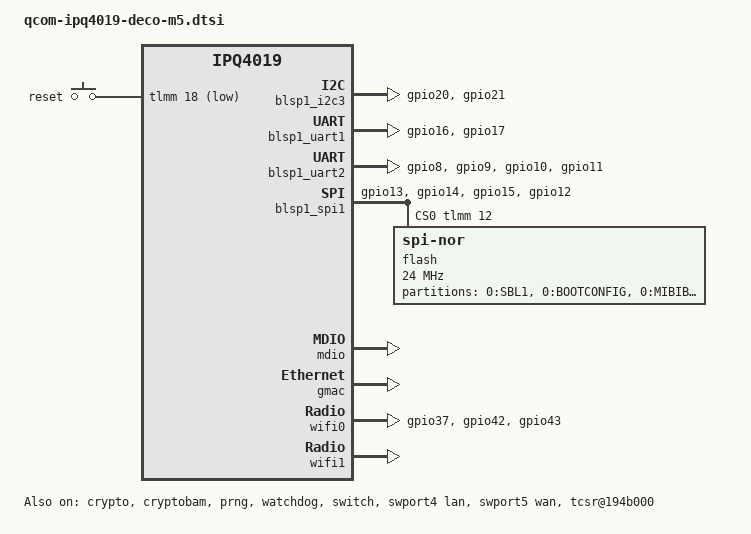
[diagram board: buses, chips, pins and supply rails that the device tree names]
// SPDX-License-Identifier: GPL-2.0-or-later OR MIT

#include "qcom-ipq4019.dtsi"
#include <dt-bindings/gpio/gpio.h>
#include <dt-bindings/input/input.h>
#include <dt-bindings/soc/qcom,tcsr.h>
#include <dt-bindings/leds/common.h>

/ {
	chosen {
		bootargs-append = " root=/dev/mtdblock16";
	};

	aliases {
		label-mac-device = &swport4;
	};

	keys {
		compatible = "gpio-keys";

		reset {
			label = "reset";
			gpios = <&tlmm 18 GPIO_ACTIVE_LOW>;
			linux,code = <KEY_RESTART>;
		};
	};

	soc {
		tcsr@194b000 {
			compatible = "qcom,tcsr";
			reg = <0x194b000 0x100>;
			qcom,usb-hsphy-mode-select = <TCSR_USB_HSPHY_HOST_MODE>;
			status = "okay";
		};

		tcsr@1949000 {
			compatible = "qcom,tcsr";
			reg = <0x1949000 0x100>;
			qcom,wifi_glb_cfg = <TCSR_WIFI_GLB_CFG>;
		};

		tcsr@1957000 {
			compatible = "qcom,tcsr";
			reg = <0x1957000 0x100>;
			qcom,wifi_noc_memtype_m0_m2 = <TCSR_WIFI_NOC_MEMTYPE_M0_M2>;
		};

		ess_tcsr@1953000 {
			compatible = "qcom,tcsr";
			reg = <0x1953000 0x1000>;
			qcom,ess-interface-select = <TCSR_ESS_PSGMII>;
		};
	};
};

&tlmm {
	serial_0_pins: serial_0_pinmux {
		pinmux {
			pins = "gpio16", "gpio17";
			function = "blsp_uart0";
			bias-disable;
		};
	};

	serial_1_pins: serial_1_pinmux {
		pinmux {
			pins = "gpio8", "gpio9", "gpio10", "gpio11";
			function = "blsp_uart1";
			bias-disable;
		};
	};

	spi_0_pins: spi_0_pinmux {
		pinmux {
			pins = "gpio13", "gpio14", "gpio15";
			function = "blsp_spi0";
			drive-strength = <12>;
			bias-disable;
		};
		pinmux_cs {
			pins = "gpio12";
			function = "gpio";
			drive-strength = <2>;
			bias-disable;
			output-high;
		};
	};

	i2c_0_pins: i2c_0_pinmux {
		pinmux {
			pins = "gpio20", "gpio21";
			function = "blsp_i2c0";
			drive-strength = <16>;
			bias-disable;
		};
	};

	wifi_pins: wifi_pinmux {
		pinmux_1 {
			pins = "gpio37";
			function = "gpio";
			drive-strength = <6>;
			bias-pull-up;
			output-high;
		};

		pinmux_2 {
			pins = "gpio42";
			function = "gpio";
			drive-strength = <6>;
			bias-pull-up;
			output-high;
		};

		pinmux_3 {
			pins = "gpio43";
			function = "gpio";
			drive-strength = <6>;
			bias-pull-up;
		};
	};
};

&blsp_dma {
	status = "okay";
};

&blsp1_i2c3 {
	pinctrl-0 = <&i2c_0_pins>;
	pinctrl-names = "default";
	status = "okay";

	led_driver: lp5521@32 {
		compatible = "national,lp5521";
		reg = <0x32>;
		clock-mode = /bits/ 8 <2>;
		#address-cells = <1>;
		#size-cells = <0>;
		status = "disabled";

		led_driver_red: led@0 {
			reg = <0>;
			chan-name = "fault:red";
			led-cur = /bits/ 8 <0x2f>;
			max-cur = /bits/ 8 <0x5f>;
			color = <LED_COLOR_ID_RED>;
			function = LED_FUNCTION_FAULT;
		};
		led_driver_green: led@1 {
			reg = <1>;
			chan-name = "power:green";
			led-cur = /bits/ 8 <0x2f>;
			max-cur = /bits/ 8 <0x5f>;
			color = <LED_COLOR_ID_GREEN>;
			function = LED_FUNCTION_POWER;
		};
		led_driver_blue: led@2 {
			reg = <2>;
			chan-name = "boot:blue";
			led-cur = /bits/ 8 <0x2f>;
			max-cur = /bits/ 8 <0x5f>;
			color = <LED_COLOR_ID_BLUE>;
		};
	};
};

&blsp1_uart1 {
	pinctrl-0 = <&serial_0_pins>;
	pinctrl-names = "default";
	status = "okay";
};

&blsp1_uart2 {
	pinctrl-0 = <&serial_1_pins>;
	pinctrl-names = "default";
	status = "okay";
};

&blsp1_spi1 {
	pinctrl-0 = <&spi_0_pins>;
	pinctrl-names = "default";
	status = "okay";
	cs-gpios = <&tlmm 12 GPIO_ACTIVE_HIGH>;

	flash@0 {
		#address-cells = <1>;
		#size-cells = <1>;
		reg = <0>;
		compatible = "jedec,spi-nor";
		spi-max-frequency = <24000000>;

		partitions {
			#address-cells = <1>;
			#size-cells = <1>;
			compatible = "fixed-partitions";

			partition@0 {
				label = "0:SBL1";
				reg = <0x00000000 0x00030000>;
				read-only;
			};
			partition@30000 {
				label = "0:BOOTCONFIG";
				reg = <0x00030000 0x00010000>;
				read-only;
			};
			partition@40000 {
				label = "0:MIBIB";
				reg = <0x00040000 0x00010000>;
				read-only;
			};
			partition@50000 {
				label = "0:BOOTCONFIG1";
				reg = <0x00050000 0x00010000>;
				read-only;
			};
			partition@60000 {
				label = "0:QSEE";
				reg = <0x00060000 0x00060000>;
				read-only;
			};
			partition@c0000 {
				label = "0:CDT";
				reg = <0x000c0000 0x00010000>;
				read-only;
			};
			partition@d0000 {
				label = "0:DDRPARAMS";
				reg = <0x000d0000 0x00010000>;
				read-only;
			};
			partition@e0000 {
				label = "0:APPSBLENV";
				reg = <0x000e0000 0x00010000>;
				read-only;
			};
			partition@f0000 {
				label = "0:APPSBL";
				reg = <0x000f0000 0x00080000>;
				read-only;
			};
			partition@170000 {
				label = "0:ART";
				reg = <0x00170000 0x00010000>;
				read-only;

				nvmem-layout {
					compatible = "fixed-layout";
					#address-cells = <1>;
					#size-cells = <1>;

					precal_art_1000: precal@1000 {
						reg = <0x1000 0x2f20>;
					};

					precal_art_5000: precal@5000 {
						reg = <0x5000 0x2f20>;
					};
				};
			};
			partition@180000 {
				label = "OPAQUE";
				reg = <0x00180000 0x000c0000>;
				read-only;

				nvmem-layout {
					compatible = "fixed-layout";
					#address-cells = <1>;
					#size-cells = <1>;

					macaddr_gmac0: macaddr@0 {
						compatible = "mac-base";
						reg = <0x8 0x6>;
						#nvmem-cell-cells = <1>;
					};
				};
			};
			partition@240000 {
				label = "0:HLOS";
				reg = <0x00240000 0x00300000>;
				read-only;
			};
			partition@540000 {
				label = "0:rootfs";
				reg = <0x00540000 0x007d0000>;
				read-only;
			};
			partition@d10000 {
				label = "0:APPSBL_1";
				reg = <0x00d10000 0x00080000>;
				read-only;
			};
			partition@d90000 {
				label = "firmware";
				compatible = "denx,fit";
				reg = <0x00d90000 0x01040000>;
			};
		};
	};
};

&crypto {
	status = "okay";
};

&cryptobam {
	status = "okay";
};

&prng {
	status = "okay";
};

&usb2 {
	status = "disabled";
};

&usb2_hs_phy {
	status = "disabled";
};

&usb3 {
	status = "disabled";
};

&usb3_hs_phy {
	status = "disabled";
};

&usb3_ss_phy {
	status = "disabled";
};

&mdio {
	status = "okay";
};

&watchdog {
	status = "okay";
};

&gmac {
	status = "okay";
};

&switch {
	status = "okay";
};

&swport4 {
	status = "okay";
	label = "lan";

	nvmem-cell-names = "mac-address";
	nvmem-cells = <&macaddr_gmac0 0>;
};

&swport5 {
	status = "okay";
	label = "wan";

	nvmem-cell-names = "mac-address";
	nvmem-cells = <&macaddr_gmac0 1>;
};

&wifi0 {
	pinctrl-0 = <&wifi_pins>;
	pinctrl-names = "default";
	status = "okay";
	nvmem-cell-names = "pre-calibration", "mac-address";
	nvmem-cells = <&precal_art_1000>, <&macaddr_gmac0 2>;
};

&wifi1 {
	status = "okay";
	nvmem-cell-names = "pre-calibration", "mac-address";
	nvmem-cells = <&precal_art_5000>, <&macaddr_gmac0 3>;
};
